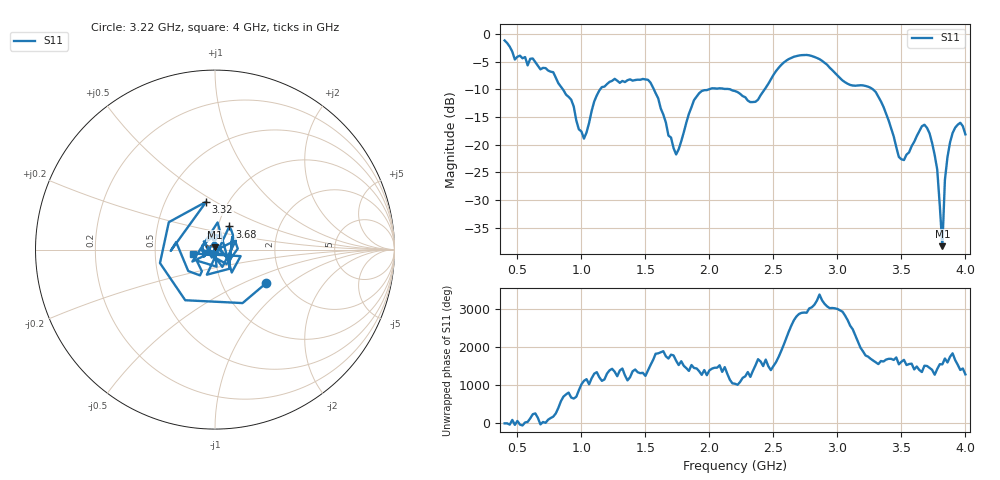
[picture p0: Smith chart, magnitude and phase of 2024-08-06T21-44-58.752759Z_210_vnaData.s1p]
!Created with skrf (http://scikit-rf.org).
# Hz S RI R 50.0
!freq ReS11 ImS11
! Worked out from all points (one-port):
!   181 points, 400 MHz to 4 GHz, reference 50 ohm
!   lowest |S11| = -38.4 dB at 3.82 GHz (marker M1), VSWR 1.02, Z = 49.9 + j1.2 ohm
!   |S11| at or under -10 dB: 855.8 MHz to 1.146 GHz (290 MHz wide, 29 % of centre); 1.566 GHz to 1.994 GHz (427.2 MHz wide, 24 % of centre); 3.279 GHz to end of sweep (the widest 3 of 4)
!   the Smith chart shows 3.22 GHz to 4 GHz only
!   S11 on the Smith chart (normalised r, x): 3.22 GHz: 1.61, -0.69; 3.32 GHz: 0.79, +0.46; 3.68 GHz: 1.13, +0.30; 4 GHz: 0.78, -0.03
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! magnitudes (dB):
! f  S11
! 400 MHz  -1.1
! 480 MHz  -4.6
! 620 MHz  -4.4
! 860 MHz  -10.1
! 1.02 GHz  -18.9
! 1.14 GHz  -10.2
! 1.3 GHz  -8.8
! 1.54 GHz  -8.8
! 1.74 GHz  -21.8
! 1.76 GHz  -20.8
! 1.92 GHz  -10.7
! 2.2 GHz  -10.3
! 2.36 GHz  -12.2
! 2.66 GHz  -4.1
! 2.86 GHz  -4.5
! 3.1 GHz  -9.2
! 3.22 GHz  -9.4
! 3.32 GHz  -11.3
! 3.48 GHz  -22.2
! 3.56 GHz  -21.4
! 3.68 GHz  -16.4
! 3.72 GHz  -17.9
! 3.78 GHz  -24.5
! 3.82 GHz  -38.4
! 3.84 GHz  -26.4
! 3.88 GHz  -19.6
! 3.96 GHz  -16.0
! 4 GHz  -18.1
